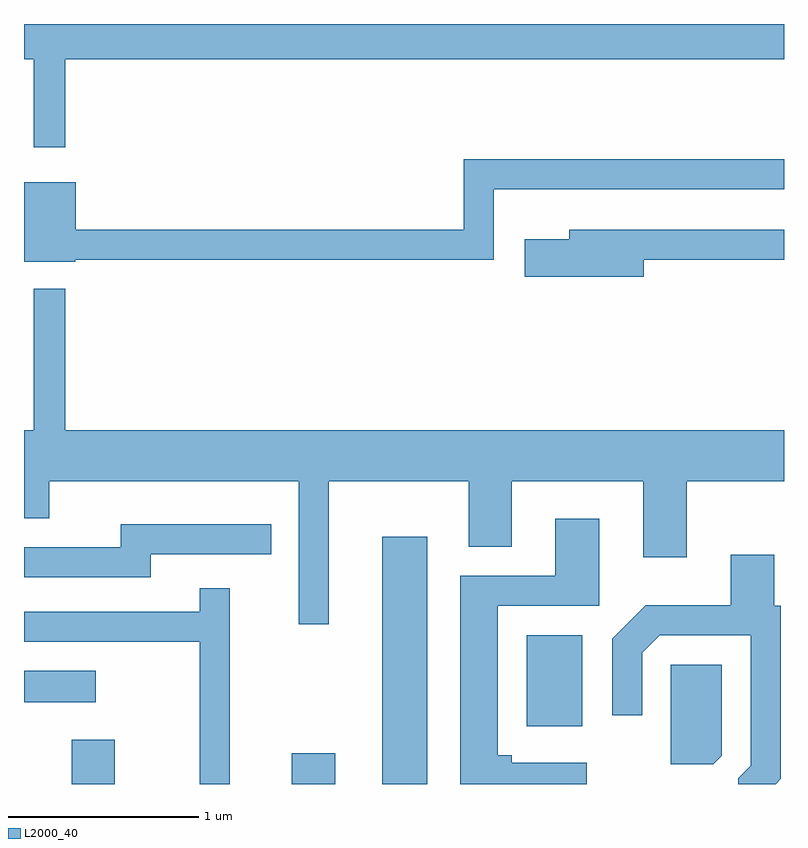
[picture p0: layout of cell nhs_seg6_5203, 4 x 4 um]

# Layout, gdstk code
import gdstk
lib = gdstk.Library(unit=1e-6, precision=1e-09)
def R(c, l, rs):  # rectangles x0, y0, x1, y1
    for r in rs: c.add(gdstk.rectangle(r[:2], r[2:], *l))
def P(c, l, *ps):  # polygons
    for p in ps: c.add(gdstk.Polygon(p, *l))
L2000_40 = (2000, 40)

nhs_seg6_5203 = lib.new_cell('nhs_seg6_5203')
R(nhs_seg6_5203, L2000_40, [(343.861,1606.162,344.089,1606.394), (345.021,1606.162,345.249,1606.324), (345.496,1606.162,345.734,1607.464), (346.256,1606.466,346.549,1606.944), (343.611,1606.591,343.988,1606.759)])
P(nhs_seg6_5203, L2000_40, [(343.829,1609.976),(347.611,1609.976),(347.611,1610.162),(343.611,1610.162),(343.611,1609.976),(343.661,1609.976),(343.661,1609.513),(343.829,1609.513)],
  [(343.88,1608.921),(346.084,1608.921),(346.084,1609.291),(347.611,1609.291),(347.611,1609.449),(345.926,1609.449),(345.926,1609.079),(343.884,1609.079),(343.884,1609.329),(343.611,1609.329),(343.611,1608.911),(343.88,1608.911)],
  [(346.874,1608.921),(347.611,1608.921),(347.611,1609.079),(346.481,1609.079),(346.481,1609.029),(346.246,1609.029),(346.246,1608.831),(346.874,1608.831)],
  [(345.214,1607.756),(345.951,1607.756),(345.951,1607.411),(346.179,1607.411),(346.179,1607.756),(346.871,1607.756),(346.871,1607.356),(347.099,1607.356),(347.099,1607.756),(347.611,1607.756),(347.611,1608.024),(343.829,1608.024),(343.829,1608.768),(343.661,1608.768),(343.661,1608.024),(343.611,1608.024),(343.611,1607.561),(343.744,1607.561),(343.744,1607.756),(345.056,1607.756),(345.056,1607.003),(345.214,1607.003)],
  [(346.574,1606.274),(346.179,1606.274),(346.179,1606.314),(346.104,1606.314),(346.104,1607.101),(346.639,1607.101),(346.639,1607.559),(346.406,1607.559),(346.406,1607.259),(345.906,1607.259),(345.906,1606.162),(346.574,1606.162)],
  [(344.279,1607.371),(344.913,1607.371),(344.913,1607.529),(344.121,1607.529),(344.121,1607.409),(343.611,1607.409),(343.611,1607.251),(344.279,1607.251)],
  [(347.594,1606.189),(347.594,1607.099),(347.559,1607.099),(347.559,1607.369),(347.331,1607.369),(347.331,1607.104),(346.884,1607.104),(346.706,1606.927),(346.706,1606.523),(346.864,1606.523),(346.864,1606.854),(346.957,1606.946),(347.436,1606.946),(347.436,1606.257),(347.371,1606.192),(347.371,1606.162),(347.567,1606.162)],
  [(344.694,1607.193),(344.536,1607.193),(344.536,1607.069),(343.611,1607.069),(343.611,1606.911),(344.536,1606.911),(344.536,1606.162),(344.694,1606.162)],
  [(347.284,1606.312),(347.284,1606.789),(347.016,1606.789),(347.016,1606.266),(347.239,1606.266)])

lib.write_gds('nhs_seg6_5203.gds')
